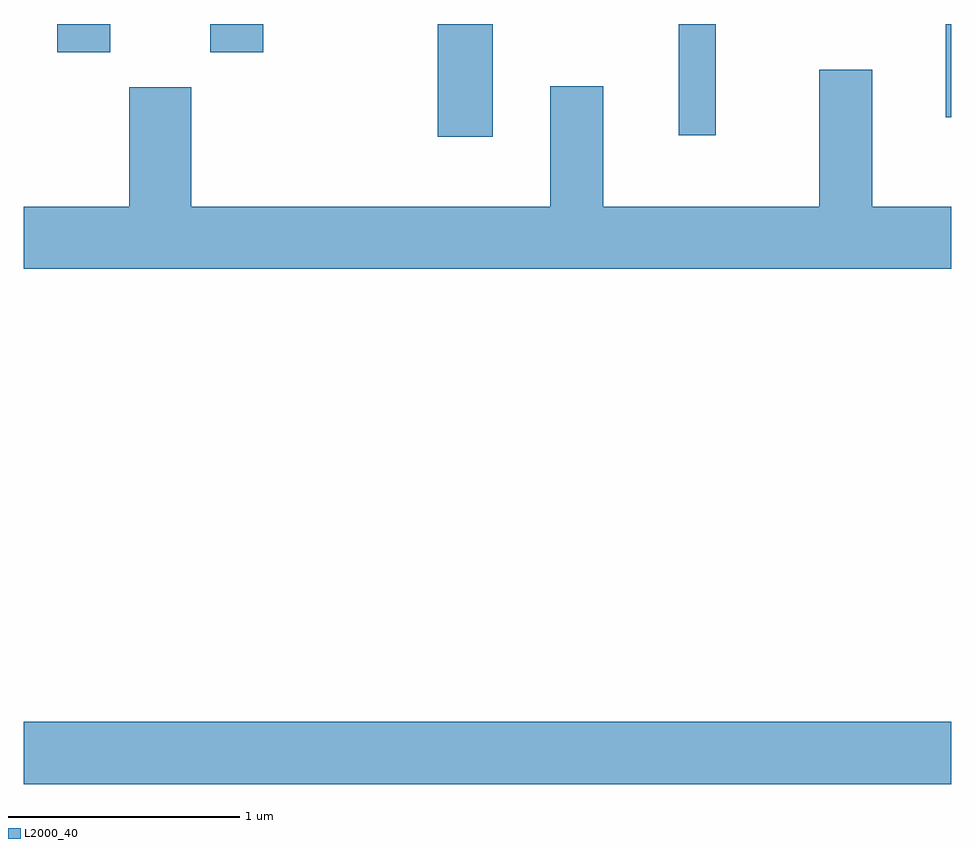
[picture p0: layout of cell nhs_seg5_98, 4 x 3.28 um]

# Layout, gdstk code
import gdstk
lib = gdstk.Library(unit=1e-6, precision=1e-09)
def R(c, l, rs):  # rectangles x0, y0, x1, y1
    for r in rs: c.add(gdstk.rectangle(r[:2], r[2:], *l))
def P(c, l, *ps):  # polygons
    for p in ps: c.add(gdstk.Polygon(p, *l))
L2000_40 = (2000, 40)

nhs_seg5_98 = lib.new_cell('nhs_seg5_98')
R(nhs_seg5_98, L2000_40, [(187.611,1456.796,191.611,1457.064), (189.396,1459.586,189.634,1460.072), (190.436,1459.593,190.594,1460.072), (187.756,1459.951,187.984,1460.072), (188.416,1459.951,188.644,1460.072)])
P(nhs_seg5_98, L2000_40, [(191.611,1460.072),(191.143,1460.072),(191.143,1460.071),(191.586,1460.071),(191.586,1459.671),(191.611,1459.671)],
  [(191.611,1459.284),(191.269,1459.284),(191.269,1459.874),(191.041,1459.874),(191.041,1459.284),(190.109,1459.284),(190.109,1459.804),(189.881,1459.804),(189.881,1459.284),(188.334,1459.284),(188.334,1459.799),(188.066,1459.799),(188.066,1459.284),(187.611,1459.284),(187.611,1459.016),(191.611,1459.016)])

lib.write_gds('nhs_seg5_98.gds')
